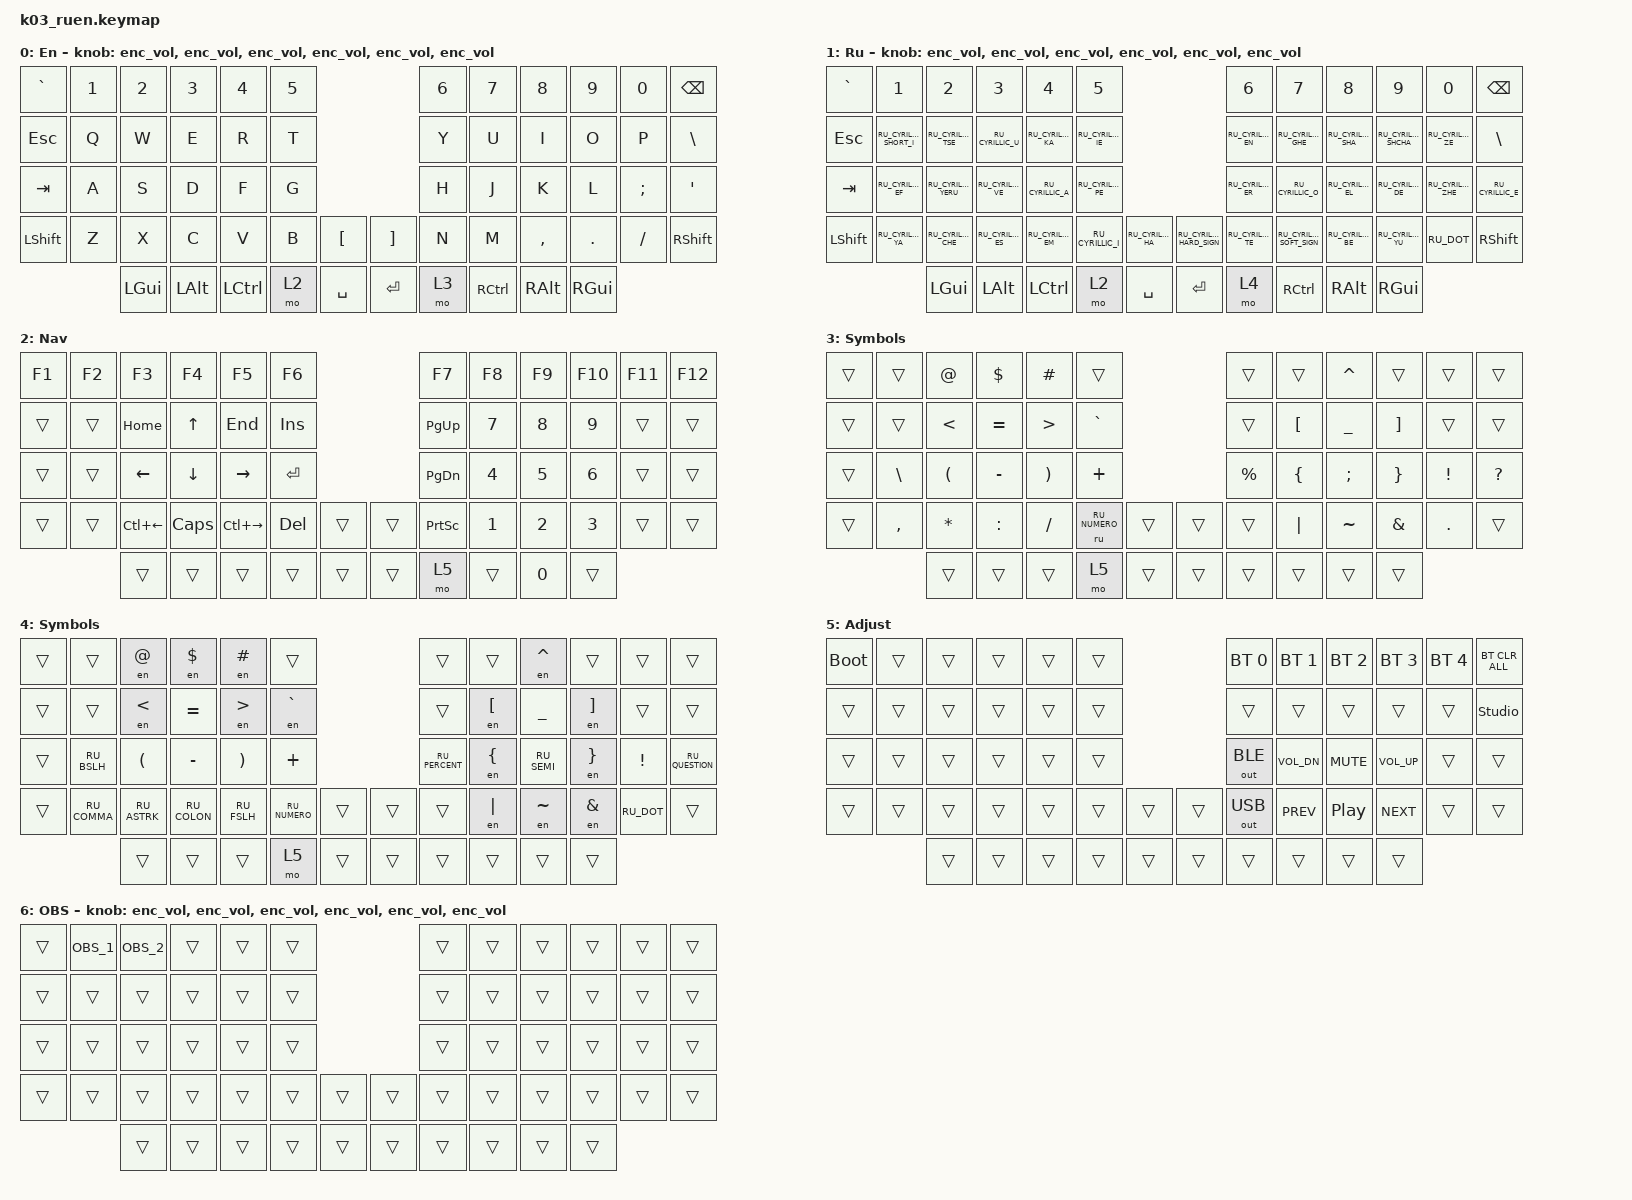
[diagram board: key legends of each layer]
#include "keys_ru.h"
#include <behaviors.dtsi>
#include <dt-bindings/zmk/bt.h>
#include <dt-bindings/zmk/keys.h>
#include <dt-bindings/zmk/outputs.h>

/ {
    behaviors {
        enc_vol: enc_vol {
            compatible = "zmk,behavior-sensor-rotate";
            label = "ENC_VOL";
            #sensor-binding-cells = <0>;
            bindings = <&kp C_VOL_UP>, <&kp C_VOL_DN>;
        };

        TD_SPACE_RU: TD_SPACE_RU {
            compatible = "zmk,behavior-tap-dance";
            label = "TD_SPACE_RU";
            #binding-cells = <0>;
            bindings =
                <&kp SPACE>,
                <&m_td_space_ru RU_COMMA>,
                <&m_td_space_ru RU_DOT>;
        };

        TD_SPACE_EN: TD_SPACE_EN {
            compatible = "zmk,behavior-tap-dance";
            label = "TD_SPACE_EN";
            #binding-cells = <0>;
            bindings =
                <&kp SPACE>,
                <&m_td_space_en COMMA>,
                <&m_td_space_en DOT>;
        };
    };

    combos {
        compatible = "zmk,combos";

        cmben {
            bindings = <&layer_en>;
            key-positions = <54 36>;
            layers = <1 6>;
        };

        cmbru {
            bindings = <&layer_ru>;
            key-positions = <54 36>;
            layers = <0>;
        };

        cbobs {
            bindings = <&to 6>;
            key-positions = <41 26 21>;
        };
    };

    macros {
        to_ru: to_ru {
            compatible = "zmk,behavior-macro";
            #binding-cells = <0>;
            bindings = <&kp LS(LC(N2))>;
            label = "TO_RU";
            wait-ms = <0>;
            tap-ms = <30>;
        };

        to_en: to_en {
            compatible = "zmk,behavior-macro";
            #binding-cells = <0>;
            bindings = <&kp LS(LC(N1))>;
            label = "TO_EN";
            wait-ms = <0>;
            tap-ms = <30>;
        };

        layer_en: layer_en {
            compatible = "zmk,behavior-macro";
            #binding-cells = <0>;
            bindings = <&to 0 &to_en>;
            label = "LAYER_EN";
            wait-ms = <0>;
            tap-ms = <30>;
        };

        layer_ru: layer_ru {
            compatible = "zmk,behavior-macro";
            #binding-cells = <0>;
            bindings = <&to 1 &to_ru>;
            label = "LAYER_RU";
            tap-ms = <30>;
            wait-ms = <0>;
        };

        en: en {
            compatible = "zmk,behavior-macro-one-param";
            #binding-cells = <1>;
            bindings =
                <&to_en>,
                <&macro_press>,
                <&macro_param_1to1 &kp MACRO_PLACEHOLDER>,
                <&macro_pause_for_release>,
                <&macro_release>,
                <&macro_param_1to1 &kp MACRO_PLACEHOLDER>,
                <&macro_tap>,
                <&to_ru>;

            label = "EN";
            wait-ms = <0>;
            tap-ms = <30>;
        };

        ru: ru {
            compatible = "zmk,behavior-macro-one-param";
            #binding-cells = <1>;
            bindings =
                <&to_ru>,
                <&macro_press>,
                <&macro_param_1to1 &kp MACRO_PLACEHOLDER>,
                <&macro_pause_for_release>,
                <&macro_release>,
                <&macro_param_1to1 &kp MACRO_PLACEHOLDER>,
                <&macro_tap>,
                <&to_en>;

            label = "RU";
            wait-ms = <0>;
            tap-ms = <30>;
        };

        m_td_space_ru: new_macro {
            compatible = "zmk,behavior-macro-one-param";
            #binding-cells = <1>;
            bindings =
                <&macro_tap>,
                <&macro_param_1to1 &kp MACRO_PLACEHOLDER &kp RU_SPACE>;

            label = "NEW_MACRO";
        };

        m_td_space_en: m_td_space_en {
            compatible = "zmk,behavior-macro-one-param";
            #binding-cells = <1>;
            bindings =
                <&macro_tap>,
                <&macro_param_1to1 &kp MACRO_PLACEHOLDER &kp SPACE>;

            label = "M_TD_SPACE_EN";
        };

        OBS_1: OBS_1 {
            compatible = "zmk,behavior-macro";
            #binding-cells = <0>;
            bindings = <&kp LA(LC(NUMBER_1))>;
            label = "OBS_1";
            tap-ms = <30>;
            wait-ms = <0>;
        };

        OBS_2: OBS_2 {
            compatible = "zmk,behavior-macro";
            #binding-cells = <0>;
            bindings = <&kp LA(LC(NUMBER_2))>;
            label = "OBS_2";
            tap-ms = <30>;
            wait-ms = <0>;
        };
    };

    keymap {
        compatible = "zmk,keymap";

        en {
            bindings = <
&kp GRAVE  &kp N1  &kp N2    &kp N3    &kp N4     &kp N5                          &kp N6  &kp N7     &kp N8     &kp N9    &kp N0    &kp BSPC
&kp ESC    &kp Q   &kp W     &kp E     &kp R      &kp T                           &kp Y   &kp U      &kp I      &kp O     &kp P     &kp BSLH
&kp TAB    &kp A   &kp S     &kp D     &kp F      &kp G                           &kp H   &kp J      &kp K      &kp L     &kp SEMI  &kp SQT
&kp LSHFT  &kp Z   &kp X     &kp C     &kp V      &kp B   &kp LBKT     &kp RBKT   &kp N   &kp M      &kp COMMA  &kp DOT   &kp FSLH  &kp RSHFT
                   &kp LGUI  &kp LALT  &kp LCTRL  &mo 2   &kp SPACE    &kp ENTER  &mo 3   &kp RCTRL  &kp RALT   &kp RGUI
            >;

            display-name = "En";
            sensor-bindings =
                <&enc_vol>,
                <&enc_vol>,
                <&enc_vol>,
                <&enc_vol>,
                <&enc_vol>,
                <&enc_vol>;
        };

        ru {
            display-name = "Ru";
            bindings = <
&kp GRAVE  &kp N1                   &kp N2                &kp N3              &kp N4              &kp N5                                                               &kp N6              &kp N7                     &kp N8               &kp N9                 &kp N0               &kp BSPC
&kp ESC    &kp RU_CYRILLIC_SHORT_I  &kp RU_CYRILLIC_TSE   &kp RU_CYRILLIC_U   &kp RU_CYRILLIC_KA  &kp RU_CYRILLIC_IE                                                   &kp RU_CYRILLIC_EN  &kp RU_CYRILLIC_GHE        &kp RU_CYRILLIC_SHA  &kp RU_CYRILLIC_SHCHA  &kp RU_CYRILLIC_ZE   &kp BSLH
&kp TAB    &kp RU_CYRILLIC_EF       &kp RU_CYRILLIC_YERU  &kp RU_CYRILLIC_VE  &kp RU_CYRILLIC_A   &kp RU_CYRILLIC_PE                                                   &kp RU_CYRILLIC_ER  &kp RU_CYRILLIC_O          &kp RU_CYRILLIC_EL   &kp RU_CYRILLIC_DE     &kp RU_CYRILLIC_ZHE  &kp RU_CYRILLIC_E
&kp LSHFT  &kp RU_CYRILLIC_YA       &kp RU_CYRILLIC_CHE   &kp RU_CYRILLIC_ES  &kp RU_CYRILLIC_EM  &kp RU_CYRILLIC_I   &kp RU_CYRILLIC_HA    &kp RU_CYRILLIC_HARD_SIGN  &kp RU_CYRILLIC_TE  &kp RU_CYRILLIC_SOFT_SIGN  &kp RU_CYRILLIC_BE   &kp RU_CYRILLIC_YU     &kp RU_DOT           &kp RSHFT
                                    &kp LGUI              &kp LALT            &kp LCTRL           &mo 2               &kp SPACE             &kp ENTER                  &mo 4               &kp RCTRL                  &kp RALT             &kp RGUI
            >;

            sensor-bindings =
                <&enc_vol>,
                <&enc_vol>,
                <&enc_vol>,
                <&enc_vol>,
                <&enc_vol>,
                <&enc_vol>;
        };

        nav {
            bindings = <
&kp F1  &kp F2  &kp F3        &kp F4    &kp F5         &kp F6                     &kp F7           &kp F8  &kp F9  &kp F10  &kp F11  &kp F12
&trans  &trans  &kp HOME      &kp UP    &kp END        &kp INS                    &kp PG_UP        &kp N7  &kp N8  &kp N9   &trans   &trans
&trans  &trans  &kp LEFT      &kp DOWN  &kp RIGHT      &kp RET                    &kp PG_DN        &kp N4  &kp N5  &kp N6   &trans   &trans
&trans  &trans  &kp LC(LEFT)  &kp CAPS  &kp LC(RIGHT)  &kp DEL  &trans    &trans  &kp PRINTSCREEN  &kp N1  &kp N2  &kp N3   &trans   &trans
                &trans        &trans    &trans         &trans   &trans    &trans  &mo 5            &trans  &kp N0  &trans
            >;

            display-name = "Nav";
        };

        sym_en {
            bindings = <
&trans  &trans     &kp AT    &kp DLLR   &kp HASH  &trans                           &trans     &trans    &kp CARET  &trans    &trans    &trans
&trans  &trans     &kp LT    &kp EQUAL  &kp GT    &kp GRAVE                        &trans     &kp LBKT  &kp UNDER  &kp RBKT  &trans    &trans
&trans  &kp BSLH   &kp LPAR  &kp MINUS  &kp RPAR  &kp PLUS                         &kp PRCNT  &kp LBRC  &kp SEMI   &kp RBRC  &kp EXCL  &kp QUESTION
&trans  &kp COMMA  &kp STAR  &kp COLON  &kp FSLH  &ru RU_NUMERO  &trans    &trans  &trans     &kp PIPE  &kp TILDE  &kp AMPS  &kp DOT   &trans
                   &trans    &trans     &trans    &mo 5          &trans    &trans  &trans     &trans    &trans     &trans
            >;

            display-name = "Symbols";
        };

        sym_ru {
            display-name = "Symbols";
            bindings = <
&trans  &trans        &en AT        &en DLLR      &en HASH     &trans                           &trans          &trans    &en CARET    &trans    &trans      &trans
&trans  &trans        &en LT        &kp EQUAL     &en GT       &en GRAVE                        &trans          &en LBKT  &kp UNDER    &en RBKT  &trans      &trans
&trans  &kp RU_BSLH   &kp LPAR      &kp MINUS     &kp RPAR     &kp PLUS                         &kp RU_PERCENT  &en LBRC  &kp RU_SEMI  &en RBRC  &kp EXCL    &kp RU_QUESTION
&trans  &kp RU_COMMA  &kp RU_ASTRK  &kp RU_COLON  &kp RU_FSLH  &kp RU_NUMERO  &trans    &trans  &trans          &en PIPE  &en TILDE    &en AMPS  &kp RU_DOT  &trans
                      &trans        &trans        &trans       &mo 5          &trans    &trans  &trans          &trans    &trans       &trans
            >;
        };

        adj {
            bindings = <
&bootloader  &trans  &trans  &trans  &trans  &trans                    &bt BT_SEL 0  &bt BT_SEL 1  &bt BT_SEL 2      &bt BT_SEL 3  &bt BT_SEL 4  &bt BT_CLR_ALL
&trans       &trans  &trans  &trans  &trans  &trans                    &trans        &trans        &trans            &trans        &trans        &studio_unlock
&trans       &trans  &trans  &trans  &trans  &trans                    &out OUT_BLE  &kp C_VOL_DN  &kp C_MUTE        &kp C_VOL_UP  &trans        &trans
&trans       &trans  &trans  &trans  &trans  &trans  &trans    &trans  &out OUT_USB  &kp C_PREV    &kp C_PLAY_PAUSE  &kp C_NEXT    &trans        &trans
                     &trans  &trans  &trans  &trans  &trans    &trans  &trans        &trans        &trans            &trans
            >;

            display-name = "Adjust";
        };

        obs {
            bindings = <
&trans  &OBS_1  &OBS_2  &trans  &trans  &trans                    &trans  &trans  &trans  &trans  &trans  &trans
&trans  &trans  &trans  &trans  &trans  &trans                    &trans  &trans  &trans  &trans  &trans  &trans
&trans  &trans  &trans  &trans  &trans  &trans                    &trans  &trans  &trans  &trans  &trans  &trans
&trans  &trans  &trans  &trans  &trans  &trans  &trans    &trans  &trans  &trans  &trans  &trans  &trans  &trans
                &trans  &trans  &trans  &trans  &trans    &trans  &trans  &trans  &trans  &trans
            >;

            sensor-bindings =
                <&enc_vol>,
                <&enc_vol>,
                <&enc_vol>,
                <&enc_vol>,
                <&enc_vol>,
                <&enc_vol>;

            label = "OBS";
        };
    };
};
